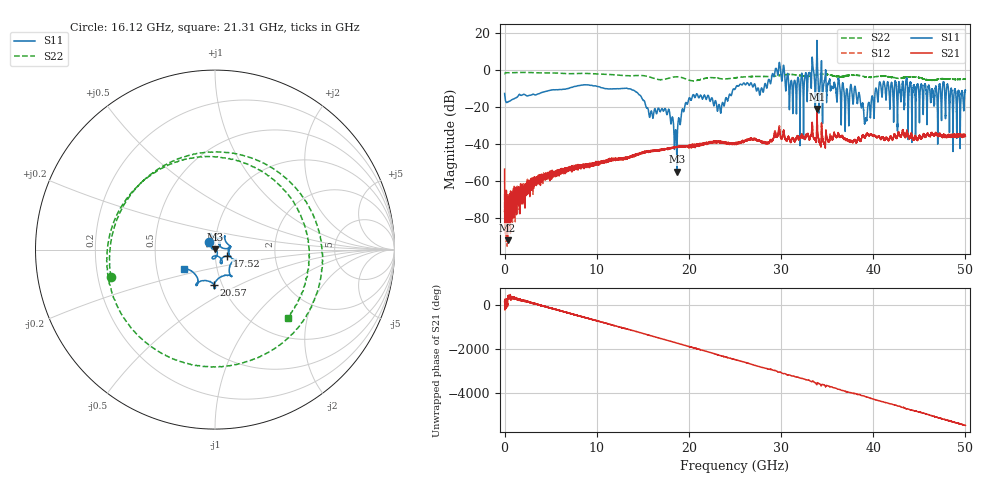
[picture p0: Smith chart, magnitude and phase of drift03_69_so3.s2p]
!Created with skrf (http://scikit-rf.org).
# Hz S RI R 50.0
!freq ReS11 ImS11 ReS21 ImS21 ReS12 ImS12 ReS22 ImS22
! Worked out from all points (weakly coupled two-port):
!   10001 points, 300 kHz to 50 GHz, reference 50 ohm
!   highest |S21| = -21.11 dB at 33.9 GHz (marker M1); lowest = -92.3 dB at 320.3 MHz (marker M2)
!   lowest |S11| = -55.0 dB at 18.69 GHz (marker M3), VSWR 1.00, Z = 49.9 + j0.165 ohm
!   |S11| at or under -10 dB: start of sweep to 6.942 GHz; 13.31 GHz to 25.04 GHz (11.74 GHz wide, 61.2 % of centre); 38.07 GHz to 40.26 GHz (2.186 GHz wide, 5.58 % of centre) (the widest 3 of 53)
!   |S22| runs from -5.9 to -1.3 dB; largest |S21 - S12| = 0.0081
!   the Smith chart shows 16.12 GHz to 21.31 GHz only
!   S11 on the Smith chart (normalised r, x): 16.12 GHz: 0.94, +0.08; 17.52 GHz: 1.14, -0.08; 20.57 GHz: 0.92, -0.37; 21.31 GHz: 0.69, -0.16
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300000  -0.207 -0.1035  -0.00203 0.000398  4.49e-05 0.000435  -0.7621 -0.205
3.202981e8  -0.1025 0.0865  1.37e-05 -2.01e-05  0.000178 3.71e-05  -0.6758 0.5109
1.535291e9  0.2046 0.0434  -0.000174 -0.000577  -0.000101 -0.000548  0.8493 0.0775
3.160281e9  -0.2186 -0.00872  0.000287 0.000927  0.000212 0.000851  -0.8438 -0.0247
4.665272e9  0.2636 0.0608  -0.000259 -0.00123  -0.000312 -0.00138  0.8186 0.1419
6.360262e9  -0.3001 0.000793  0.000444 0.0018  0.000643 0.00162  -0.8038 -0.0427
8.33525e9  0.2836 -0.268  -0.00222 -0.000888  -0.00208 -0.000876  0.6015 -0.5366
1.043024e10  -0.043 0.3324  0.00251 -0.00193  0.00256 -0.00189  -0.0363 0.7698
1.201523e10  0.00682 -0.3089  -0.0028 0.00262  -0.00285 0.00258  0.1072 -0.7293
1.61152e10  -0.0313 0.0409  0.00605 0.00213  0.00609 0.00202  -0.5799 -0.1511
1.66702e10  0.0539 0.0747  0.00472 -0.00475  0.00445 -0.00491  -0.3606 0.4174
1.752019e10  0.0685 -0.0357  -0.0061 -0.00391  -0.00622 -0.00397  0.4886 0.2948
1.869019e10  -0.000643 0.00166  0.00228 0.00797  0.00244 0.0079  -0.084 -0.6481
2.057018e10  -0.00514 -0.1958  -0.00758 -0.00466  -0.00802 -0.0043  0.3688 0.347
2.131017e10  -0.1729 -0.1088  -0.00495 0.0075  -0.00528 0.00783  0.405 -0.3803
2.500015e10  -0.2964 -0.0477  0.00825 0.00676  0.00748 0.00644  -0.1876 -0.5827
3.051512e10  0.2375 -0.1296  -0.0019 0.0123  -0.00207 0.0124  0.7428 -0.0693
3.213011e10  0.1999 0.3762  -0.000305 -0.0147  -0.000708 -0.0151  -0.6952 0.0177
3.33351e10  0.521 -1.022  -0.00552 0.0267  -0.00647 0.0254  0.6147 0.3649
3.38951e10  -0.6706 -6.246  0.0875 0.0089  0.0821 0.00544  0.6796 -0.3171
4.167005e10  -0.2269 0.2827  -0.0117 -0.00441  -0.0116 -0.00469  -0.6466 -0.0578
5e10  -0.1369 -0.2484  0.0011 -0.0159  0.00139 -0.0163  0.4667 -0.3176
